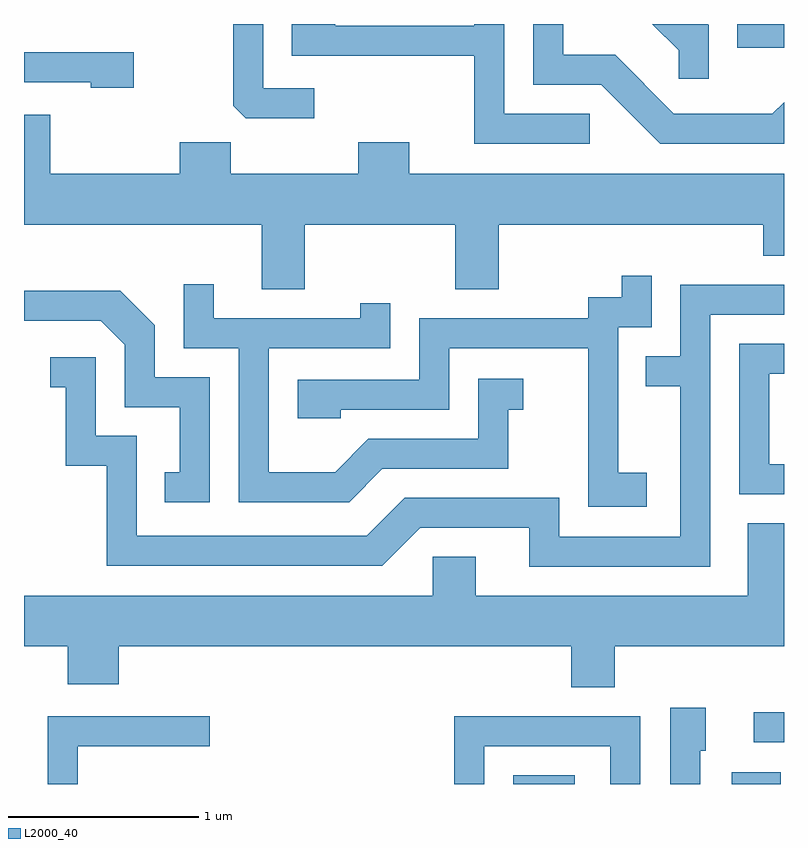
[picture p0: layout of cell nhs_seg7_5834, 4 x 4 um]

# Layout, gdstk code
import gdstk
lib = gdstk.Library(unit=1e-6, precision=1e-09)
def R(c, l, rs):  # rectangles x0, y0, x1, y1
    for r in rs: c.add(gdstk.rectangle(r[:2], r[2:], *l))
def P(c, l, *ps):  # polygons
    for p in ps: c.add(gdstk.Polygon(p, *l))
L2000_40 = (2000, 40)

nhs_seg7_5834 = lib.new_cell('nhs_seg7_5834')
R(nhs_seg7_5834, L2000_40, [(366.186,1720.252,366.509,1720.299), (367.336,1720.252,367.594,1720.314), (367.453,1720.471,367.611,1720.629), (367.366,1724.126,367.611,1724.252)])
P(nhs_seg7_5834, L2000_40, [(367.214,1724.247),(367.209,1724.252),(366.918,1724.252),(367.056,1724.114),(367.056,1723.963),(367.214,1723.963)],
  [(367.611,1723.841),(367.549,1723.779),(367.032,1723.779),(366.722,1724.089),(366.449,1724.089),(366.449,1724.252),(366.291,1724.252),(366.291,1723.931),(366.649,1723.931),(366.959,1723.621),(367.611,1723.621)],
  [(365.138,1723.914),(364.869,1723.914),(364.869,1724.252),(364.711,1724.252),(364.711,1723.822),(364.777,1723.756),(365.138,1723.756)],
  [(366.588,1723.779),(366.139,1723.779),(366.139,1724.252),(365.981,1724.252),(365.981,1724.244),(365.249,1724.244),(365.249,1724.252),(365.021,1724.252),(365.021,1724.086),(365.981,1724.086),(365.981,1723.621),(366.588,1723.621)],
  [(364.189,1724.104),(363.611,1724.104),(363.611,1723.946),(363.961,1723.946),(363.961,1723.916),(364.189,1723.916)],
  [(365.089,1723.196),(365.881,1723.196),(365.881,1722.856),(366.109,1722.856),(366.109,1723.196),(367.501,1723.196),(367.501,1723.031),(367.611,1723.031),(367.611,1723.464),(365.639,1723.464),(365.639,1723.629),(365.371,1723.629),(365.371,1723.464),(364.699,1723.464),(364.699,1723.629),(364.431,1723.629),(364.431,1723.464),(363.749,1723.464),(363.749,1723.774),(363.611,1723.774),(363.611,1723.196),(364.861,1723.196),(364.861,1722.856),(365.089,1722.856)],
  [(366.889,1721.889),(366.739,1721.889),(366.739,1722.656),(366.914,1722.656),(366.914,1722.928),(366.756,1722.928),(366.756,1722.814),(366.581,1722.814),(366.581,1722.704),(365.691,1722.704),(365.691,1722.379),(365.051,1722.379),(365.051,1722.176),(365.279,1722.176),(365.279,1722.221),(365.849,1722.221),(365.849,1722.546),(366.581,1722.546),(366.581,1721.711),(366.889,1721.711)],
  [(365.497,1721.911),(366.159,1721.911),(366.159,1722.221),(366.238,1722.221),(366.238,1722.384),(366.001,1722.384),(366.001,1722.069),(365.424,1722.069),(365.249,1721.894),(364.899,1721.894),(364.899,1722.546),(365.539,1722.546),(365.539,1722.783),(365.381,1722.783),(365.381,1722.704),(364.609,1722.704),(364.609,1722.883),(364.451,1722.883),(364.451,1722.546),(364.741,1722.546),(364.741,1721.736),(365.322,1721.736)],
  [(367.224,1722.721),(367.611,1722.721),(367.611,1722.879),(367.066,1722.879),(367.066,1722.504),(366.883,1722.504),(366.883,1722.346),(367.066,1722.346),(367.066,1721.554),(366.429,1721.554),(366.429,1721.759),(365.614,1721.759),(365.414,1721.559),(364.204,1721.559),(364.204,1722.084),(363.989,1722.084),(363.989,1722.499),(363.748,1722.499),(363.748,1722.341),(363.831,1722.341),(363.831,1721.926),(364.046,1721.926),(364.046,1721.401),(365.497,1721.401),(365.697,1721.601),(366.271,1721.601),(366.271,1721.396),(367.224,1721.396)],
  [(364.589,1722.394),(364.299,1722.394),(364.299,1722.667),(364.117,1722.849),(363.611,1722.849),(363.611,1722.691),(364.014,1722.691),(364.141,1722.564),(364.141,1722.236),(364.431,1722.236),(364.431,1721.894),(364.353,1721.894),(364.353,1721.736),(364.589,1721.736)],
  [(367.611,1721.934),(367.534,1721.934),(367.534,1722.411),(367.611,1722.411),(367.611,1722.569),(367.376,1722.569),(367.376,1721.776),(367.611,1721.776)],
  [(366.719,1720.976),(367.611,1720.976),(367.611,1721.624),(367.421,1721.624),(367.421,1721.244),(365.989,1721.244),(365.989,1721.449),(365.761,1721.449),(365.761,1721.244),(363.611,1721.244),(363.611,1720.976),(363.841,1720.976),(363.841,1720.776),(364.109,1720.776),(364.109,1720.976),(366.491,1720.976),(366.491,1720.761),(366.719,1720.761)],
  [(367.169,1720.426),(367.199,1720.426),(367.199,1720.654),(367.011,1720.654),(367.011,1720.252),(367.169,1720.252)],
  [(366.034,1720.451),(366.696,1720.451),(366.696,1720.252),(366.854,1720.252),(366.854,1720.609),(365.876,1720.609),(365.876,1720.252),(366.034,1720.252)],
  [(363.894,1720.451),(364.588,1720.451),(364.588,1720.609),(363.736,1720.609),(363.736,1720.252),(363.894,1720.252)])

lib.write_gds('nhs_seg7_5834.gds')
